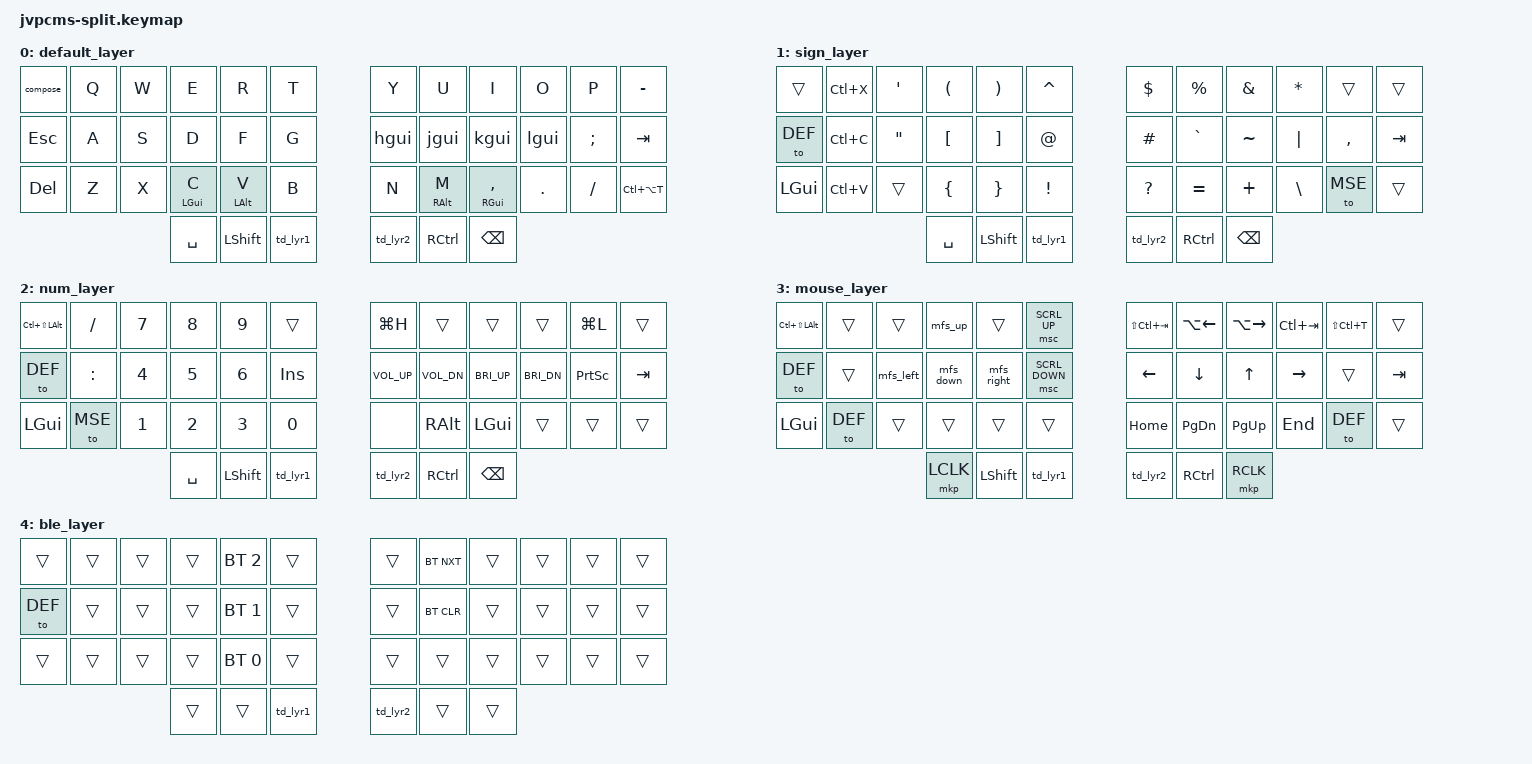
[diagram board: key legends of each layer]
#include <behaviors.dtsi>
#include <dt-bindings/zmk/keys.h>
#include <dt-bindings/zmk/bt.h>
#include <dt-bindings/zmk/pointing.h>

#define DEF 0
#define SGN 1
#define NUM 2
#define MSE 3
#define BLE 4

#define trml LC(LA(T))
#define lock LG(L)
#define hide LG(H)
#define meh LC(LS(LALT))
#define copy LC(C)
#define paste LC(V)
#define cut LC(X)
#define del_wrd LC(BSPC)

// Mouse ----------
#define U_MOUSE_MOVE_FAST 900
#define U_MOUSE_MOVE_SLOW 200
#undef MOVE_UP
#undef MOVE_DOWN
#undef MOVE_LEFT
#undef MOVE_RIGHT
#define MOVE_UP_F MOVE_Y(-U_MOUSE_MOVE_FAST)
#define MOVE_DOWN_F MOVE_Y(U_MOUSE_MOVE_FAST)
#define MOVE_LEFT_F MOVE_X(-U_MOUSE_MOVE_FAST)
#define MOVE_RIGHT_F MOVE_X(U_MOUSE_MOVE_FAST)
#define MOVE_UP_S MOVE_Y(-U_MOUSE_MOVE_SLOW)
#define MOVE_DOWN_S MOVE_Y(U_MOUSE_MOVE_SLOW)
#define MOVE_LEFT_S MOVE_X(-U_MOUSE_MOVE_SLOW)
#define MOVE_RIGHT_S MOVE_X(U_MOUSE_MOVE_SLOW)


&mmv {
    acceleration-exponent = <0>;
};

#define U_MOUSE_SCROLL_MAX 30
#undef SCROLL_UP
#undef SCROLL_DOWN
#undef SCROLL_LEFT
#undef SCROLL_RIGHT
#define SCROLL_UP MOVE_Y(U_MOUSE_SCROLL_MAX)
#define SCROLL_DOWN MOVE_Y(-U_MOUSE_SCROLL_MAX)
#define SCROLL_LEFT MOVE_X(-U_MOUSE_SCROLL_MAX)
#define SCROLL_RIGHT MOVE_X(U_MOUSE_SCROLL_MAX)

&msc {
    time-to-max-speed-ms = <500>;
};

#define prv_srch LA(LEFT)
#define nxt_srch LA(RIGHT)
#define new_tab LS(T)
#define cls_tab LS(W)
#define reopen_tab LS(LC(T))
#define nxt_tab LC(TAB)
#define prv_tab LS(LC(TAB))
// Sticky layer -----------

// this option makes modifier keys not end sticky layer actions
&sl {
    ignore-modifiers;
};

/ {
    behaviors {
        // stick layer and to layer
        td_lyr1: tap_dance_sgn_layer {
            compatible = "zmk,behavior-tap-dance";
            #binding-cells = <0>;
            tapping-term-ms = <300>;
            bindings = <&sl SGN>, <&to SGN>;
        };
        // stick layer and to layer
        td_lyr2: tap_dance_num_layer {
            compatible = "zmk,behavior-tap-dance";
            #binding-cells = <0>;
            tapping-term-ms = <300>;
            bindings = <&sl NUM>, <&to NUM>;
        };
        // normal press delete word, shift + press delete character
        mbsp: backspace_and_del_wrd {
            compatible = "zmk,behavior-mod-morph";
            #binding-cells = <0>;
            bindings = <&kp del_wrd>, <&kp BSPC>;
            mods = <(MOD_LSFT|MOD_RSFT)>;
        };
        // j and gui+down mod
        jgui: j_and_gui_down {
            compatible = "zmk,behavior-mod-morph";
            #binding-cells = <0>;
            bindings = <&kp J>, <&kp LG(DOWN)>;
            mods = <(MOD_LGUI|MOD_RGUI)>;
        };
        // k and gui+up mod
        kgui: k_and_gui_up {
            compatible = "zmk,behavior-mod-morph";
            #binding-cells = <0>;
            bindings = <&kp K>, <&kp LG(UP)>;
            mods = <(MOD_LGUI|MOD_RGUI)>;
        };
        // h and gui+left mod
        hgui: h_and_gui_left {
            compatible = "zmk,behavior-mod-morph";
            #binding-cells = <0>;
            bindings = <&kp H>, <&kp LG(LEFT)>;
            mods = <(MOD_LGUI|MOD_RGUI)>;
        };
        // l and gui+right mod
        lgui: l_and_gui_right {
            compatible = "zmk,behavior-mod-morph";
            #binding-cells = <0>;
            bindings = <&kp L>, <&kp LG(RIGHT)>;
            mods = <(MOD_LGUI|MOD_RGUI)>;
        };
        bsp_slck: backspace_slck {
            compatible = "zmk,behavior-mod-morph";
            #binding-cells = <0>;
            bindings = <&kp BSPC>, <&kp SLCK>;
            mods = <(MOD_LSFT|MOD_RSFT)>;
        };
        hm: homerow_mods {
            compatible = "zmk,behavior-hold-tap";
            label = "HOMEROW_MODS";
            #binding-cells = <2>;
            tapping-term-ms = <2000>;
            quick_tap_ms = <0>;
            flavor = "balanced";
            bindings = <&kp>, <&kp>;
        };
        mfs_up: mouse_fast_slow_up {
            compatible = "zmk,behavior-mod-morph";
            #binding-cells = <0>;
            bindings = <&mmv MOVE_UP_S>, <&mmv MOVE_UP_F>;
            mods = <(MOD_LCTL|MOD_RCTL)>;
        };
        mfs_down: mouse_fast_slow_down {
            compatible = "zmk,behavior-mod-morph";
            #binding-cells = <0>;
            bindings = <&mmv MOVE_DOWN_S>, <&mmv MOVE_DOWN_F>;
            mods = <(MOD_LCTL|MOD_RCTL)>;
        };
        mfs_left: mouse_fast_slow_left {
            compatible = "zmk,behavior-mod-morph";
            #binding-cells = <0>;
            bindings = <&mmv MOVE_LEFT_S>, <&mmv MOVE_LEFT_F>;
            mods = <(MOD_LCTL|MOD_RCTL)>;
        };
        mfs_right: mouse_fast_slow_right {
            compatible = "zmk,behavior-mod-morph";
            #binding-cells = <0>;
            bindings = <&mmv MOVE_RIGHT_S>, <&mmv MOVE_RIGHT_F>;
            mods = <(MOD_LCTL|MOD_RCTL)>;
        };
    };
    combos {
        compatible = "zmk,combos";
        // enter key combo
        combo_enter {
            timeout-ms = <50>;
            key-positions = <16 15>;
            bindings = <&kp ENTER>;
        };
        combo_enter2 {
            timeout-ms = <50>;
            key-positions = <19 20>;
            bindings = <&kp ENTER>;
        };
        // ble layer combo
        combo_ble_layer {
            timeout-ms = <50>;
            key-positions = <0 11>;
            bindings = <&to BLE>;
            layers = <DEF>;
        };
        // middle click combo
        combo_mclk {
            timeout-ms = <50>;
            key-positions = <36 41>;
            bindings = <&mkp MCLK>;
            layers = <MSE>;
        };
        // F key combos — right-side anchor (pos 30) + num key, NUM layer only
        combo_f1  { timeout-ms = <100>; key-positions = <30 26>; bindings = <&kp F1>;  layers = <NUM>; };
        combo_f2  { timeout-ms = <100>; key-positions = <30 27>; bindings = <&kp F2>;  layers = <NUM>; };
        combo_f3  { timeout-ms = <100>; key-positions = <30 28>; bindings = <&kp F3>;  layers = <NUM>; };
        combo_f4  { timeout-ms = <100>; key-positions = <30 14>; bindings = <&kp F4>;  layers = <NUM>; };
        combo_f5  { timeout-ms = <100>; key-positions = <30 15>; bindings = <&kp F5>;  layers = <NUM>; };
        combo_f6  { timeout-ms = <100>; key-positions = <30 16>; bindings = <&kp F6>;  layers = <NUM>; };
        combo_f7  { timeout-ms = <100>; key-positions = <30  2>; bindings = <&kp F7>;  layers = <NUM>; };
        combo_f8  { timeout-ms = <100>; key-positions = <30  3>; bindings = <&kp F8>;  layers = <NUM>; };
        combo_f9  { timeout-ms = <100>; key-positions = <30  4>; bindings = <&kp F9>;  layers = <NUM>; };
        combo_f10 { timeout-ms = <100>; key-positions = <30 29>; bindings = <&kp F10>; layers = <NUM>; };
        combo_f11 { timeout-ms = <100>; key-positions = <30  1>; bindings = <&kp F11>; layers = <NUM>; };
        combo_f12 { timeout-ms = <100>; key-positions = <30 13>; bindings = <&kp F12>; layers = <NUM>; };
    };
    macros {
        // compose_key + move to sign layer
        compose: compose_key {
            compatible = "zmk,behavior-macro";
            #binding-cells = <0>;
            bindings
                = <&macro_tap &kp INS &td_lyr1>
                ;
        };
    };
    keymap {
        compatible = "zmk,keymap";
        default_layer {
            bindings = <
                // ┌────────┬──────┬──────┬──────────┬──────────┬─────────┐  ┌─────────┬───────────┬──────────────┬───────┬────────┬──────────────┐
                // │        │      │      │          │          │         │  │         │           │              │       │        │              │
                    &compose &kp Q  &kp W  &kp E      &kp R      &kp T        &kp Y     &kp U       &kp I          &kp O   &kp P    &kp MINUS
                // ├────────┼──────┼──────┼──────────┼──────────┼─────────┤  ├─────────┼───────────┼──────────────┼───────┼────────┼──────────────┤
                // │        │      │      │          │          │         │  │         │           │              │       │        │              │
                    &kp ESC  &kp A  &kp S  &kp D      &kp F      &kp G        &hgui     &jgui       &kgui          &lgui   &kp SEMI &kp TAB
                // ├────────┼──────┼──────┼──────────┼──────────┼─────────┤  ├─────────┼───────────┼──────────────┼───────┼────────┼──────────────┤
                // │        │      │      │          │          │         │  │         │           │              │       │        │              │
                    &kp DEL  &kp Z  &kp X  &hm LGUI C &hm LALT V &kp B        &kp N     &hm RALT M  &hm RGUI COMMA &kp DOT &kp FSLH &kp trml
                // └────────┴──────┴──────┼──────────┼──────────┼─────────┤  ├─────────┼───────────┼──────────────┼───────┴────────┴──────────────┘
                //                        │          │          │         │  │         │           │              │ 
                                           &kp SPACE  &kp LSHFT  &td_lyr1     &td_lyr2  &kp RCTRL   &kp BSPC
                //                        └──────────┴──────────┴─────────┘  └─────────┴───────────┴──────────────┘ 
            >;
        };
        sign_layer {
            bindings = <
                // ┌─────────┬─────────┬───────┬─────────┬─────────┬─────────┐  ┌───────────────┬─────────┬─────────┬─────────┬─────────┬──────────────┐
                // │         │         │       │         │         │         │  │               │         │         │         │         │              │
                    &trans    &kp cut   &kp SQT &kp LPAR  &kp RPAR  &kp CARET    &kp DLLR        &kp PRCNT &kp AMPS  &kp ASTRK &trans    &trans
                // ├─────────┼─────────┼───────┼─────────┼─────────┼─────────┤  ├───────────────┼─────────┼─────────┼─────────┼─────────┼──────────────┤
                // │         │         │       │         │         │         │  │               │         │         │         │         │              │
                    &to DEF   &kp copy  &kp DQT &kp LBKT  &kp RBKT  &kp AT       &kp HASH        &kp GRAVE &kp TILDE &kp PIPE  &kp COMMA &kp TAB
                // ├─────────┼─────────┼───────┼─────────┼─────────┼─────────┤  ├───────────────┼─────────┼─────────┼─────────┼─────────┼──────────────┤
                // │         │         │       │         │         │         │  │               │         │         │         │         │              │
                    &kp LGUI  &kp paste &trans  &kp LBRC  &kp RBRC  &kp EXCL     &kp QMARK       &kp EQUAL &kp PLUS  &kp BSLH  &to MSE   &trans
                // └─────────┴─────────┴───────┼─────────┼─────────┼─────────┤  ├───────────────┼─────────┼─────────┼─────────┴─────────┴──────────────┘
                //                             │         │         │         │  │               │         │         │
                                                &kp SPACE &kp LSHFT &td_lyr1     &td_lyr2        &kp RCTRL &kp BSPC
                //                             └─────────┴─────────┴─────────┘  └───────────────┴─────────┴─────────┘
            >;
        };
        num_layer {
            bindings = <
                // ┌─────────┬─────────┬───────┬─────────┬─────────┬─────────┐  ┌────────────┬────────────┬────────────┬────────────┬─────────┬────────┐
                // │         │         │       │         │         │         │  │            │            │            │            │         │        │
                    &kp meh   &kp FSLH  &kp N7  &kp N8    &kp N9    &trans       &kp hide     &trans       &trans       &trans       &kp lock  &trans  
                // ├─────────┼─────────┼───────┼─────────┼─────────┼─────────┤  ├────────────┼────────────┼────────────┼────────────┼─────────┼────────┤
                // │         │         │       │         │         │         │  │            │            │            │            │         │        │
                    &to DEF   &kp COLON &kp N4  &kp N5    &kp N6    &kp INS      &kp K_VOL_UP &kp K_VOL_DN &kp C_BRI_UP &kp C_BRI_DN &kp PSCRN &kp TAB
                // ├─────────┼─────────┼───────┼─────────┼─────────┼─────────┤  ├────────────┼────────────┼────────────┼────────────┼─────────┼────────┤
                // │         │         │       │         │         │         │  │            │            │            │            │         │        │
                    &kp LGUI  &to MSE   &kp N1  &kp N2    &kp N3    &kp N0       &none        &kp RALT     &kp LGUI     &trans       &trans    &trans
                // └─────────┴─────────┴───────┼─────────┼─────────┼─────────┤  ├────────────┼────────────┼────────────┼────────────┴─────────┴────────┘
                //                             │         │         │         │  │            │            │            │
                                                &kp SPACE &kp LSHFT &td_lyr1     &td_lyr2     &kp RCTRL    &kp BSPC
                //                             └─────────┴─────────┴─────────┘  └────────────┴────────────┴────────────┘
            >;
        };
        mouse_layer {
            bindings = <
                // ┌────────┬───────┬──────────┬──────────┬───────────┬──────────────┐  ┌───────────┬────────────┬────────────┬────────────┬──────────────┬───────┐ 
                // │        │       │          │          │           │              │  │           │            │            │            │              │       │ 
                    &kp meh  &trans  &trans     &mfs_up    &trans      &msc SCRL_UP      &kp prv_tab &kp prv_srch &kp nxt_srch  &kp nxt_tab &kp reopen_tab &trans
                // ├────────┼───────┼──────────┼──────────┼───────────┼──────────────┤  ├───────────┼────────────┼────────────┼────────────┼──────────────┼───────┤ 
                // │        │       │          │          │           │              │  │           │            │            │            │              │       │ 
                    &to DEF  &trans  &mfs_left  &mfs_down  &mfs_right  &msc SCRL_DOWN    &kp LEFT    &kp DOWN     &kp UP       &kp RIGHT    &trans         &kp TAB
                // ├────────┼───────┼──────────┼──────────┼───────────┼──────────────┤  ├───────────┼────────────┼────────────┼────────────┼──────────────┼───────┤ 
                // │        │       │          │          │           │              │  │           │            │            │            │              │       │
                    &kp LGUI &to DEF &trans     &trans     &trans      &trans            &kp HOME    &kp PG_DN    &kp PG_UP    &kp END      &to DEF        &trans
                // └────────┴───────┴──────────┼──────────┼───────────┼──────────────┤  ├───────────┼────────────┼────────────┼────────────┴──────────────┴───────┘
                //                             │          │           │              │  │           │            │            │
                                                &mkp LCLK  &kp LSHFT   &td_lyr1          &td_lyr2     &kp RCTRL    &mkp RCLK 
                //                             └──────────┴───────────┴──────────────┘  └───────────┴────────────┴────────────┘
            >;
        };
        ble_layer {
            bindings = <
                // ┌────────┬────────┬────────┬────────┬─────────────┬──────────┐  ┌────────┬──────────┬───────┬───────┬───────┬───────┐ 
                // │        │        │        │        │             │          │  │        │          │       │       │       │       │ 
                    &trans   &trans   &trans   &trans   &bt BT_SEL 2  &trans        &trans   &bt BT_NXT &trans  &trans  &trans  &trans  
                // ├────────┼────────┼────────┼────────┼─────────────┼──────────┤  ├────────┼──────────┼───────┼───────┼───────┼───────┤ 
                // │        │        │        │        │             │          │  │        │          │       │       │       │       │ 
                    &to DEF  &trans   &trans   &trans   &bt BT_SEL 1  &trans        &trans   &bt BT_CLR &trans  &trans  &trans  &trans  
                // ├────────┼────────┼────────┼────────┼─────────────┼──────────┤  ├────────┼──────────┼───────┼───────┼───────┼───────┤ 
                // │        │        │        │        │             │          │  │        │          │       │       │       │       │
                    &trans   &trans   &trans   &trans   &bt BT_SEL 0  &trans        &trans   &trans     &trans  &trans  &trans  &trans       
                // └────────┴────────┴────────┼────────┼─────────────┼──────────┤  ├────────┼──────────┼───────┼───────┼───────┴───────┘
                //                            │        │             │          │  │        │          │       │
                                               &trans   &trans        &td_lyr1      &td_lyr2 &trans     &trans     
                //                            └────────┴─────────────┴──────────┘  └────────┴──────────┴───────┘
            >;
        };
    };
};
